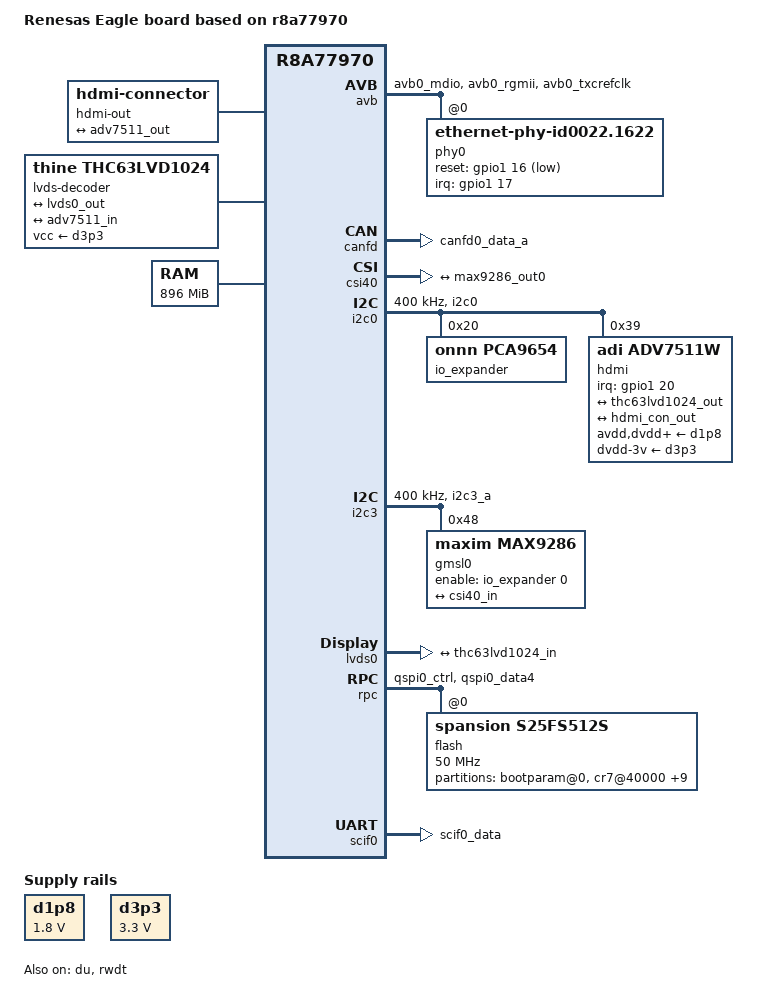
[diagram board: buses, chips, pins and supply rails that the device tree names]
// SPDX-License-Identifier: GPL-2.0
/*
 * Device Tree Source for the Eagle board with R-Car V3M
 *
 * Copyright (C) 2016-2017 Renesas Electronics Corp.
 * Copyright (C) 2017 Cogent Embedded, Inc.
 */

/dts-v1/;
#include "r8a77970.dtsi"
#include <dt-bindings/gpio/gpio.h>

/ {
	model = "Renesas Eagle board based on r8a77970";
	compatible = "renesas,eagle", "renesas,r8a77970";

	aliases {
		i2c0 = &i2c0;
		i2c1 = &i2c1;
		i2c2 = &i2c2;
		i2c3 = &i2c3;
		i2c4 = &i2c4;
		serial0 = &scif0;
		ethernet0 = &avb;
	};

	chosen {
		bootargs = "ignore_loglevel rw root=/dev/nfs ip=on";
		stdout-path = "serial0:115200n8";
	};

	d1p8: regulator-fixed {
		compatible = "regulator-fixed";
		regulator-name = "fixed-1.8V";
		regulator-min-microvolt = <1800000>;
		regulator-max-microvolt = <1800000>;
		regulator-boot-on;
		regulator-always-on;
	};

	d3p3: regulator-fixed {
		compatible = "regulator-fixed";
		regulator-name = "fixed-3.3V";
		regulator-min-microvolt = <3300000>;
		regulator-max-microvolt = <3300000>;
		regulator-boot-on;
		regulator-always-on;
	};

	hdmi-out {
		compatible = "hdmi-connector";
		type = "a";

		port {
			hdmi_con_out: endpoint {
				remote-endpoint = <&adv7511_out>;
			};
		};
	};

	lvds-decoder {
		compatible = "thine,thc63lvd1024";

		vcc-supply = <&d3p3>;

		ports {
			#address-cells = <1>;
			#size-cells = <0>;

			port@0 {
				reg = <0>;
				thc63lvd1024_in: endpoint {
					remote-endpoint = <&lvds0_out>;
				};
			};

			port@2 {
				reg = <2>;
				thc63lvd1024_out: endpoint {
					remote-endpoint = <&adv7511_in>;
				};
			};
		};
	};

	memory@48000000 {
		device_type = "memory";
		/* first 128MB is reserved for secure area. */
		reg = <0x0 0x48000000 0x0 0x38000000>;
	};

	x1_clk: x1-clock {
		compatible = "fixed-clock";
		#clock-cells = <0>;
		clock-frequency = <148500000>;
	};
};

&avb {
	pinctrl-0 = <&avb_pins>;
	pinctrl-names = "default";

	renesas,no-ether-link;
	phy-handle = <&phy0>;
	rx-internal-delay-ps = <1800>;
	tx-internal-delay-ps = <2000>;
	status = "okay";

	phy0: ethernet-phy@0 {
		compatible = "ethernet-phy-id0022.1622",
			     "ethernet-phy-ieee802.3-c22";
		rxc-skew-ps = <1500>;
		reg = <0>;
		interrupts-extended = <&gpio1 17 IRQ_TYPE_LEVEL_LOW>;
		reset-gpios = <&gpio1 16 GPIO_ACTIVE_LOW>;
	};
};

&canfd {
	pinctrl-0 = <&canfd0_pins>;
	pinctrl-names = "default";
	status = "okay";

	channel0 {
		status = "okay";
	};
};

&csi40 {
	status = "okay";

	ports {
		port@0 {
			csi40_in: endpoint {
				clock-lanes = <0>;
				data-lanes = <1 2 3 4>;
				remote-endpoint = <&max9286_out0>;
			};
		};
	};
};

&du {
	clocks = <&cpg CPG_MOD 724>, <&x1_clk>;
	clock-names = "du.0", "dclkin.0";
	status = "okay";
};

&extal_clk {
	clock-frequency = <16666666>;
};

&extalr_clk {
	clock-frequency = <32768>;
};

&i2c0 {
	pinctrl-0 = <&i2c0_pins>;
	pinctrl-names = "default";

	status = "okay";
	clock-frequency = <400000>;

	io_expander: gpio@20 {
		compatible = "onnn,pca9654";
		reg = <0x20>;
		gpio-controller;
		#gpio-cells = <2>;
	};

	hdmi@39 {
		compatible = "adi,adv7511w";
		reg = <0x39>;
		interrupt-parent = <&gpio1>;
		interrupts = <20 IRQ_TYPE_LEVEL_LOW>;

		avdd-supply = <&d1p8>;
		dvdd-supply = <&d1p8>;
		pvdd-supply = <&d1p8>;
		dvdd-3v-supply = <&d3p3>;
		bgvdd-supply = <&d1p8>;

		adi,input-depth = <8>;
		adi,input-colorspace = "rgb";
		adi,input-clock = "1x";

		ports {
			#address-cells = <1>;
			#size-cells = <0>;

			port@0 {
				reg = <0>;
				adv7511_in: endpoint {
					remote-endpoint = <&thc63lvd1024_out>;
				};
			};

			port@1 {
				reg = <1>;
				adv7511_out: endpoint {
					remote-endpoint = <&hdmi_con_out>;
				};
			};
		};
	};
};

&i2c3 {
	pinctrl-0 = <&i2c3_pins>;
	pinctrl-names = "default";

	status = "okay";
	clock-frequency = <400000>;

	gmsl0: gmsl-deserializer@48 {
		compatible = "maxim,max9286";
		reg = <0x48>;

		maxim,gpio-poc = <0 GPIO_ACTIVE_LOW>;
		enable-gpios = <&io_expander 0 GPIO_ACTIVE_HIGH>;

		ports {
			#address-cells = <1>;
			#size-cells = <0>;

			port@0 {
				reg = <0>;
			};

			port@1 {
				reg = <1>;
			};

			port@2 {
				reg = <2>;
			};

			port@3 {
				reg = <3>;
			};

			port@4 {
				reg = <4>;
				max9286_out0: endpoint {
					clock-lanes = <0>;
					data-lanes = <1 2 3 4>;
					remote-endpoint = <&csi40_in>;
				};
			};
		};

		i2c-mux {
			#address-cells = <1>;
			#size-cells = <0>;

			i2c@0 {
				#address-cells = <1>;
				#size-cells = <0>;
				reg = <0>;

				status = "disabled";
			};

			i2c@1 {
				#address-cells = <1>;
				#size-cells = <0>;
				reg = <1>;

				status = "disabled";
			};

			i2c@2 {
				#address-cells = <1>;
				#size-cells = <0>;
				reg = <2>;

				status = "disabled";
			};

			i2c@3 {
				#address-cells = <1>;
				#size-cells = <0>;
				reg = <3>;

				status = "disabled";
			};
		};
	};
};

&lvds0 {
	status = "okay";

	ports {
		port@1 {
			lvds0_out: endpoint {
				remote-endpoint = <&thc63lvd1024_in>;
			};
		};
	};
};

&pfc {
	pinctrl-0 = <&scif_clk_pins>;
	pinctrl-names = "default";

	avb_pins: avb0 {
		groups = "avb0_mdio", "avb0_rgmii", "avb0_txcrefclk";
		function = "avb0";
	};

	canfd0_pins: canfd0 {
		groups = "canfd0_data_a";
		function = "canfd0";
	};

	i2c0_pins: i2c0 {
		groups = "i2c0";
		function = "i2c0";
	};

	i2c3_pins: i2c3 {
		groups = "i2c3_a";
		function = "i2c3";
	};

	qspi0_pins: qspi0 {
		groups = "qspi0_ctrl", "qspi0_data4";
		function = "qspi0";
	};

	scif0_pins: scif0 {
		groups = "scif0_data";
		function = "scif0";
	};

	scif_clk_pins: scif_clk {
		groups = "scif_clk_b";
		function = "scif_clk";
	};
};

&rpc {
	pinctrl-0 = <&qspi0_pins>;
	pinctrl-names = "default";

	status = "okay";

	flash@0 {
		compatible = "spansion,s25fs512s", "jedec,spi-nor";
		reg = <0>;
		spi-max-frequency = <50000000>;
		spi-rx-bus-width = <4>;

		partitions {
			compatible = "fixed-partitions";
			#address-cells = <1>;
			#size-cells = <1>;

			bootparam@0 {
				reg = <0x00000000 0x040000>;
				read-only;
			};
			cr7@40000 {
				reg = <0x00040000 0x080000>;
				read-only;
			};
			cert_header_sa3@c0000 {
				reg = <0x000c0000 0x080000>;
				read-only;
			};
			bl2@140000 {
				reg = <0x00140000 0x040000>;
				read-only;
			};
			cert_header_sa6@180000 {
				reg = <0x00180000 0x040000>;
				read-only;
			};
			bl31@1c0000 {
				reg = <0x001c0000 0x460000>;
				read-only;
			};
			uboot@640000 {
				reg = <0x00640000 0x0c0000>;
				read-only;
			};
			uboot-env@700000 {
				reg = <0x00700000 0x040000>;
				read-only;
			};
			dtb@740000 {
				reg = <0x00740000 0x080000>;
			};
			kernel@7c0000 {
				reg = <0x007c0000 0x1400000>;
			};
			user@1bc0000 {
				reg = <0x01bc0000 0x2440000>;
			};
		};
	};
};

&rwdt {
	timeout-sec = <60>;
	status = "okay";
};

&scif0 {
	pinctrl-0 = <&scif0_pins>;
	pinctrl-names = "default";

	status = "okay";
};

&scif_clk {
	clock-frequency = <14745600>;
};
